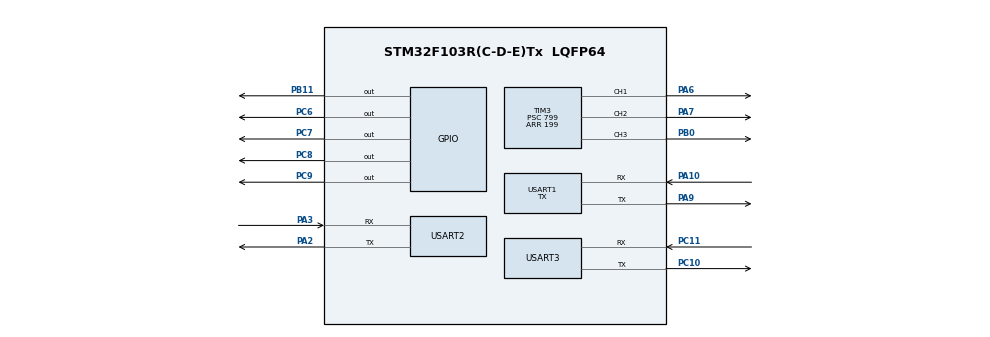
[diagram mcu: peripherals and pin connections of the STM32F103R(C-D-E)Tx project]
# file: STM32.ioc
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Mcu.Family=STM32F1
Mcu.Name=STM32F103R(C-D-E)Tx
Mcu.Package=LQFP64
NVIC.PriorityGroup=NVIC_PRIORITYGROUP_2
NVIC.TIM3_IRQn=true\:2\:1\:true\:false\:true\:true\:true
NVIC.TIM4_IRQn=true\:2\:2\:true\:false\:true\:true\:true
NVIC.USART2_IRQn=true\:1\:2\:true\:false\:true\:true\:true
NVIC.USART3_IRQn=true\:1\:1\:true\:false\:true\:true\:true
PA10.Mode=Asynchronous
PA10.Signal=USART1_RX
PA13.Mode=Trace_Asynchronous_SW
PA13.Signal=SYS_JTMS-SWDIO
PA14.Mode=Trace_Asynchronous_SW
PA14.Signal=SYS_JTCK-SWCLK
PA2.Mode=Asynchronous
PA2.Signal=USART2_TX
PA3.Mode=Asynchronous
PA3.Signal=USART2_RX
PA6.Signal=S_TIM3_CH1
PA7.Signal=S_TIM3_CH2
PA9.Mode=Asynchronous
PA9.Signal=USART1_TX
PB0.Signal=S_TIM3_CH3
PB11.GPIO_PuPd=GPIO_NOPULL
PB11.Signal=GPIO_Output
PB3.Mode=Trace_Asynchronous_SW
PB3.Signal=SYS_JTDO-TRACESWO
PC10.Mode=Asynchronous
PC10.Signal=USART3_TX
PC11.Mode=Asynchronous
PC11.Signal=USART3_RX
PC6.Signal=GPIO_Output
PC7.Signal=GPIO_Output
PC8.Signal=GPIO_Output
PC9.Signal=GPIO_Output
PD0-OSC_IN.Mode=HSE-External-Oscillator
PD0-OSC_IN.Signal=RCC_OSC_IN
PD1-OSC_OUT.Mode=HSE-External-Oscillator
PD1-OSC_OUT.Signal=RCC_OSC_OUT
ProjectManager.HeapSize=0x200
ProjectManager.StackSize=0x400
ProjectManager.TargetToolchain=MDK-ARM V5
RCC.APB1Freq_Value=8000000
RCC.APB2Freq_Value=8000000
SH.S_TIM3_CH1.0=TIM3_CH1,PWM Generation1 CH1
SH.S_TIM3_CH2.0=TIM3_CH2,PWM Generation2 CH2
SH.S_TIM3_CH3.0=TIM3_CH3,PWM Generation3 CH3
TIM3.Channel-PWM\ Generation1\ CH1=TIM_CHANNEL_1
TIM3.Channel-PWM\ Generation2\ CH2=TIM_CHANNEL_2
TIM3.Channel-PWM\ Generation3\ CH3=TIM_CHANNEL_3
TIM3.Period=199
TIM3.Prescaler=799
TIM3.Pulse-PWM\ Generation1\ CH1=15
TIM4.Period=99
TIM4.Prescaler=7999
USART1.Mode=MODE_TX
USART1.VirtualMode=VM_ASYNC
USART2.VirtualMode=VM_ASYNC
USART3.VirtualMode=VM_ASYNC
VP_TIM3_VS_ClockSourceINT.Mode=Internal
VP_TIM4_VS_ClockSourceINT.Mode=Internal
board=custom

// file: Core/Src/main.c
/* USER CODE BEGIN Header */
/**
  ******************************************************************************
  * @file           : main.c
  * @brief          : Main program body
  ******************************************************************************
  * @attention
  *
  * <h2><center>&copy; Copyright (c) 2020 STMicroelectronics.
  * All rights reserved.</center></h2>
  *
  * This software component is licensed by ST under BSD 3-Clause license,
  * the "License"; You may not use this file except in compliance with the
  * License. You may obtain a copy of the License at:
  *                        opensource.org/licenses/BSD-3-Clause
  *
  ******************************************************************************
  */
/* USER CODE END Header */
#include "main.h"

/* USER CODE BEGIN Includes */
#include "stdio.h"
#include "sys.h"
#include "LIDAR.h"
#include "USART.h"
#include "RINGBUFF.h"
#include "SERVO.h"
#include "MOTOR.h"
#include "OA.h"
#include "MMWAVE.h"
/* USER CODE END Includes */

TIM_HandleTypeDef htim3;
TIM_HandleTypeDef htim4;

UART_HandleTypeDef huart1;
UART_HandleTypeDef huart2;
UART_HandleTypeDef huart3;

/* USER CODE BEGIN PV */
u16 timer_counter = 0;
/* USER CODE END PV */

void SystemClock_Config(void);
static void MX_GPIO_Init(void);
static void MX_USART1_UART_Init(void);
static void MX_USART2_UART_Init(void);
static void MX_TIM3_Init(void);
static void MX_TIM4_Init(void);
static void MX_USART3_UART_Init(void);

int main(void)
{

  /* MCU Configuration--------------------------------------------------------*/

  /* Reset of all peripherals, Initializes the Flash interface and the Systick. */
  HAL_Init();

  /* USER CODE BEGIN Init */
	RingBuff_Init(&RINGBUFF_UART2);
	RingBuff_Init(&RINGBUFF_UART3);
  /* USER CODE END Init */

  /* Configure the system clock */
  SystemClock_Config();

  /* Initialize all configured peripherals */
  MX_GPIO_Init();
  MX_USART1_UART_Init();
  MX_USART2_UART_Init();
  MX_TIM3_Init();
  MX_TIM4_Init();
  MX_USART3_UART_Init();
  /* USER CODE BEGIN 2 */
	stop();
	#if OA_SENSOR == Lidar
	HAL_Delay(500);
	initialize_servo(15,2,100);
	HAL_Delay(500);
	#endif
	HAL_TIM_Base_Start_IT(&htim3); //使能定时器 3 和定时器 3 更新中断
	HAL_TIM_Base_Start_IT(&htim4);
  /* USER CODE END 2 */

  /* Infinite loop */
  /* USER CODE BEGIN WHILE */
  while (1)
  {
//		HAL_Delay(1000);
//		if(HAL_GPIO_ReadPin(GPIOC,GPIO_PIN_3)==GPIO_PIN_SET)
//			 HAL_GPIO_WritePin(GPIOB,GPIO_PIN_11,GPIO_PIN_SET);
//		else
//			HAL_GPIO_WritePin(GPIOB,GPIO_PIN_11,GPIO_PIN_RESET);

    /* USER CODE END WHILE */

  }
}

void SystemClock_Config(void)
{
  RCC_OscInitTypeDef RCC_OscInitStruct = {0};
  RCC_ClkInitTypeDef RCC_ClkInitStruct = {0};

  /** Initializes the RCC Oscillators according to the specified parameters
  * in the RCC_OscInitTypeDef structure.
  */
  RCC_OscInitStruct.OscillatorType = RCC_OSCILLATORTYPE_HSI;
  RCC_OscInitStruct.HSIState = RCC_HSI_ON;
  RCC_OscInitStruct.HSICalibrationValue = RCC_HSICALIBRATION_DEFAULT;
  RCC_OscInitStruct.PLL.PLLState = RCC_PLL_NONE;
  if (HAL_RCC_OscConfig(&RCC_OscInitStruct) != HAL_OK)
  {
    Error_Handler();
  }
  /** Initializes the CPU, AHB and APB buses clocks
  */
  RCC_ClkInitStruct.ClockType = RCC_CLOCKTYPE_HCLK|RCC_CLOCKTYPE_SYSCLK
                              |RCC_CLOCKTYPE_PCLK1|RCC_CLOCKTYPE_PCLK2;
  RCC_ClkInitStruct.SYSCLKSource = RCC_SYSCLKSOURCE_HSI;
  RCC_ClkInitStruct.AHBCLKDivider = RCC_SYSCLK_DIV1;
  RCC_ClkInitStruct.APB1CLKDivider = RCC_HCLK_DIV1;
  RCC_ClkInitStruct.APB2CLKDivider = RCC_HCLK_DIV1;

  if (HAL_RCC_ClockConfig(&RCC_ClkInitStruct, FLASH_LATENCY_0) != HAL_OK)
  {
    Error_Handler();
  }
}

static void MX_TIM3_Init(void)
{

  TIM_ClockConfigTypeDef sClockSourceConfig = {0};
  TIM_MasterConfigTypeDef sMasterConfig = {0};
  TIM_OC_InitTypeDef sConfigOC = {0};

  htim3.Instance = TIM3;
  htim3.Init.Prescaler = 799;
  htim3.Init.CounterMode = TIM_COUNTERMODE_UP;
  htim3.Init.Period = 199;
  htim3.Init.ClockDivision = TIM_CLOCKDIVISION_DIV1;
  htim3.Init.AutoReloadPreload = TIM_AUTORELOAD_PRELOAD_DISABLE;
  if (HAL_TIM_Base_Init(&htim3) != HAL_OK)
  {
    Error_Handler();
  }
  sClockSourceConfig.ClockSource = TIM_CLOCKSOURCE_INTERNAL;
  if (HAL_TIM_ConfigClockSource(&htim3, &sClockSourceConfig) != HAL_OK)
  {
    Error_Handler();
  }
  if (HAL_TIM_PWM_Init(&htim3) != HAL_OK)
  {
    Error_Handler();
  }
  sMasterConfig.MasterOutputTrigger = TIM_TRGO_RESET;
  sMasterConfig.MasterSlaveMode = TIM_MASTERSLAVEMODE_DISABLE;
  if (HAL_TIMEx_MasterConfigSynchronization(&htim3, &sMasterConfig) != HAL_OK)
  {
    Error_Handler();
  }
  sConfigOC.OCMode = TIM_OCMODE_PWM1;
  sConfigOC.Pulse = 15;
  sConfigOC.OCPolarity = TIM_OCPOLARITY_HIGH;
  sConfigOC.OCFastMode = TIM_OCFAST_DISABLE;
  if (HAL_TIM_PWM_ConfigChannel(&htim3, &sConfigOC, TIM_CHANNEL_1) != HAL_OK)
  {
    Error_Handler();
  }
  sConfigOC.Pulse = 0;
  if (HAL_TIM_PWM_ConfigChannel(&htim3, &sConfigOC, TIM_CHANNEL_2) != HAL_OK)
  {
    Error_Handler();
  }
  if (HAL_TIM_PWM_ConfigChannel(&htim3, &sConfigOC, TIM_CHANNEL_3) != HAL_OK)
  {
    Error_Handler();
  }
  /* USER CODE BEGIN TIM3_Init 2 */

	HAL_TIM_PWM_Start(&htim3,TIM_CHANNEL_1);//开启 PWM 通道

  /* USER CODE END TIM3_Init 2 */
  HAL_TIM_MspPostInit(&htim3);

}

static void MX_TIM4_Init(void)
{

  TIM_ClockConfigTypeDef sClockSourceConfig = {0};
  TIM_MasterConfigTypeDef sMasterConfig = {0};

  htim4.Instance = TIM4;
  htim4.Init.Prescaler = 7999;
  htim4.Init.CounterMode = TIM_COUNTERMODE_UP;
  htim4.Init.Period = 99;
  htim4.Init.ClockDivision = TIM_CLOCKDIVISION_DIV1;
  htim4.Init.AutoReloadPreload = TIM_AUTORELOAD_PRELOAD_DISABLE;
  if (HAL_TIM_Base_Init(&htim4) != HAL_OK)
  {
    Error_Handler();
  }
  sClockSourceConfig.ClockSource = TIM_CLOCKSOURCE_INTERNAL;
  if (HAL_TIM_ConfigClockSource(&htim4, &sClockSourceConfig) != HAL_OK)
  {
    Error_Handler();
  }
  sMasterConfig.MasterOutputTrigger = TIM_TRGO_RESET;
  sMasterConfig.MasterSlaveMode = TIM_MASTERSLAVEMODE_DISABLE;
  if (HAL_TIMEx_MasterConfigSynchronization(&htim4, &sMasterConfig) != HAL_OK)
  {
    Error_Handler();
  }

}

static void MX_USART1_UART_Init(void)
{

  huart1.Instance = USART1;
  huart1.Init.BaudRate = 115200;
  huart1.Init.WordLength = UART_WORDLENGTH_8B;
  huart1.Init.StopBits = UART_STOPBITS_1;
  huart1.Init.Parity = UART_PARITY_NONE;
  huart1.Init.Mode = UART_MODE_TX;
  huart1.Init.HwFlowCtl = UART_HWCONTROL_NONE;
  huart1.Init.OverSampling = UART_OVERSAMPLING_16;
  if (HAL_UART_Init(&huart1) != HAL_OK)
  {
    Error_Handler();
  }
  /* USER CODE BEGIN USART1_Init 2 */
	//HAL_UART_Receive_IT(&huart1, (u8 *)aRxBuffer, RXBUFFERSIZE);//该函数会开启接收中断：标志位UART_IT_RXNE，并且设置接收缓冲以及接收缓冲接收最大数据量
  /* USER CODE END USART1_Init 2 */

}

static void MX_USART2_UART_Init(void)
{

  huart2.Instance = USART2;
  huart2.Init.BaudRate = 115200;
  huart2.Init.WordLength = UART_WORDLENGTH_8B;
  huart2.Init.StopBits = UART_STOPBITS_1;
  huart2.Init.Parity = UART_PARITY_NONE;
  huart2.Init.Mode = UART_MODE_TX_RX;
  huart2.Init.HwFlowCtl = UART_HWCONTROL_NONE;
  huart2.Init.OverSampling = UART_OVERSAMPLING_16;
  if (HAL_UART_Init(&huart2) != HAL_OK)
  {
    Error_Handler();
  }
  /* USER CODE BEGIN USART2_Init 2 */
	HAL_UART_Receive_IT(&huart2, (u8 *)aRxBuffer, RXBUFFERSIZE);//该函数会开启接收中断
  /* USER CODE END USART2_Init 2 */

}

static void MX_USART3_UART_Init(void)
{

  huart3.Instance = USART3;
  huart3.Init.BaudRate = 115200;
  huart3.Init.WordLength = UART_WORDLENGTH_8B;
  huart3.Init.StopBits = UART_STOPBITS_1;
  huart3.Init.Parity = UART_PARITY_NONE;
  huart3.Init.Mode = UART_MODE_TX_RX;
  huart3.Init.HwFlowCtl = UART_HWCONTROL_NONE;
  huart3.Init.OverSampling = UART_OVERSAMPLING_16;
  if (HAL_UART_Init(&huart3) != HAL_OK)
  {
    Error_Handler();
  }
  /* USER CODE BEGIN USART3_Init 2 */
	HAL_UART_Receive_IT(&huart3, (u8 *)aRxBuffer, RXBUFFERSIZE);//该函数会开启接收中断：标志位UART_IT_RXNE，并且设置接收缓冲以及接收缓冲接收最大数据量
  /* USER CODE END USART3_Init 2 */

}

static void MX_GPIO_Init(void)
{
  GPIO_InitTypeDef GPIO_InitStruct = {0};

  /* GPIO Ports Clock Enable */
  __HAL_RCC_GPIOD_CLK_ENABLE();
  __HAL_RCC_GPIOA_CLK_ENABLE();
  __HAL_RCC_GPIOB_CLK_ENABLE();
  __HAL_RCC_GPIOC_CLK_ENABLE();

  /*Configure GPIO pin Output Level */
  HAL_GPIO_WritePin(GPIOB, GPIO_PIN_11, GPIO_PIN_RESET);

  /*Configure GPIO pin Output Level */
  HAL_GPIO_WritePin(GPIOC, GPIO_PIN_6|GPIO_PIN_7|GPIO_PIN_8|GPIO_PIN_9, GPIO_PIN_RESET);

  /*Configure GPIO pin : PB11 */
  GPIO_InitStruct.Pin = GPIO_PIN_11;
  GPIO_InitStruct.Mode = GPIO_MODE_OUTPUT_PP;
  GPIO_InitStruct.Pull = GPIO_NOPULL;
  GPIO_InitStruct.Speed = GPIO_SPEED_FREQ_LOW;
  HAL_GPIO_Init(GPIOB, &GPIO_InitStruct);

  /*Configure GPIO pins : PC6 PC7 PC8 PC9 */
  GPIO_InitStruct.Pin = GPIO_PIN_6|GPIO_PIN_7|GPIO_PIN_8|GPIO_PIN_9;
  GPIO_InitStruct.Mode = GPIO_MODE_OUTPUT_PP;
  GPIO_InitStruct.Pull = GPIO_NOPULL;
  GPIO_InitStruct.Speed = GPIO_SPEED_FREQ_LOW;
  HAL_GPIO_Init(GPIOC, &GPIO_InitStruct);

}

/* USER CODE BEGIN 4 */

//定时器计时溢出中断
void HAL_TIM_PeriodElapsedCallback(TIM_HandleTypeDef *htim)
{
	if(htim == &(htim4))
	{
		TIMER_OFF();
		timer_counter += 1;
		if(ZONE_FLAG == HOT_ZONE && timer_counter >= (HOT_ZONE_SPIN_DELAY/TIMER_OVERFLOW_TIME))
		{
			timer_counter = 0;
			#if OA_SENSOR == Lidar
			spin_servo(&servo_pos,&direction,end_angle_pos,start_angle_pos);
		  obstacle_avoidance(lidar_avoid_params,deducted_obstacle_array,
												obstacle_detection(lidar_avoid_params,10,1,&huart2,&RINGBUFF_UART2,LENGTH_OF_BUFF,frame_data));
			#else
			obstacle_avoidance(mmWAVE_avoid_params,deducted_obstacle_array,
													obstacle_detection(mmWAVE_avoid_params,&RINGBUFF_UART3,LENGTH_OF_BUFF));
			#endif

		}
		else if(ZONE_FLAG == COLD_ZONE && timer_counter >= (COLD_ZONE_SPIN_DELAY/TIMER_OVERFLOW_TIME))
		{
			timer_counter = 0;
			#if OA_SENSOR == Lidar
			spin_servo(&servo_pos,&direction,end_angle_pos,start_angle_pos);
		  obstacle_avoidance(lidar_avoid_params,deducted_obstacle_array,
												obstacle_detection(lidar_avoid_params,10,1,&huart2,&RINGBUFF_UART2,LENGTH_OF_BUFF,frame_data));
			#else
			obstacle_avoidance(mmWAVE_avoid_params,deducted_obstacle_array,
													obstacle_detection(mmWAVE_avoid_params,&RINGBUFF_UART3,LENGTH_OF_BUFF));
			#endif

		}
		//HAL_GPIO_TogglePin(GPIOB,GPIO_PIN_11);
		TIMER_ON();
	}

}
/* USER CODE END 4 */

void Error_Handler(void)
{
  /* USER CODE BEGIN Error_Handler_Debug */
  /* User can add his own implementation to report the HAL error return state */
	u8 cnt = 10;
	for(;cnt>0;cnt--)
	{
		HAL_Delay(500);
		HAL_GPIO_TogglePin(GPIOB,GPIO_PIN_11);
	}
  /* USER CODE END Error_Handler_Debug */
}

/************************ (C) COPYRIGHT STMicroelectronics *****END OF FILE****/
